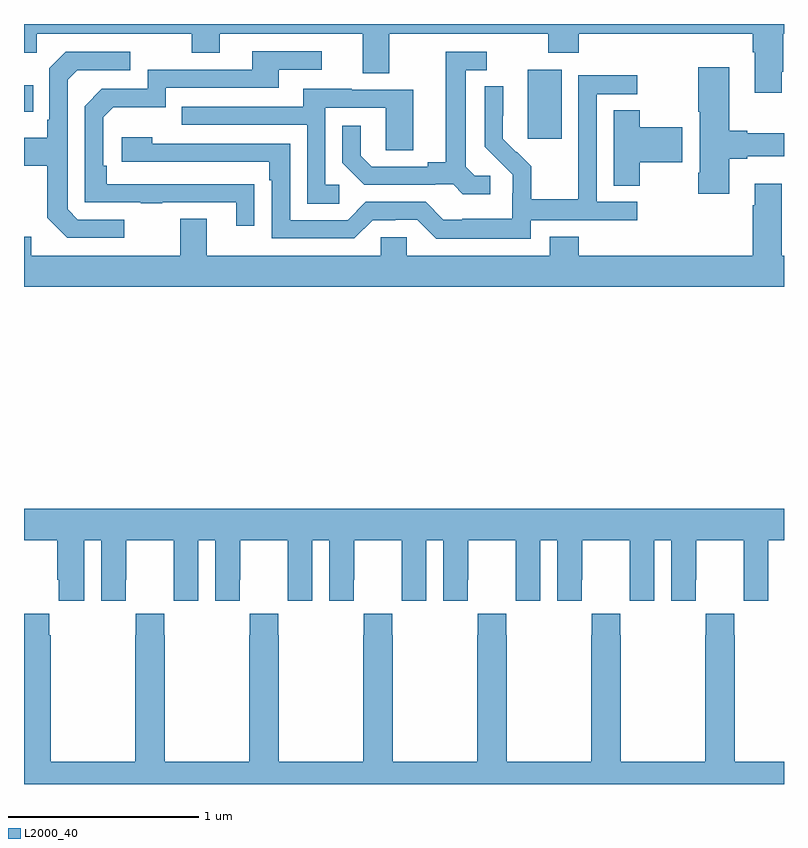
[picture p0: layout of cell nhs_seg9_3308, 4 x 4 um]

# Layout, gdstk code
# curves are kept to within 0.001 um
import gdstk
lib = gdstk.Library(unit=1e-6, precision=1e-09)
def R(c, l, rs):  # rectangles x0, y0, x1, y1
    for r in rs: c.add(gdstk.rectangle(r[:2], r[2:], *l))
def P(c, l, *ps):  # polygons
    for p in ps: c.add(gdstk.Polygon(p, *l))
L2000_40 = (2000, 40)

nhs_seg9_3308 = lib.new_cell('nhs_seg9_3308')
R(nhs_seg9_3308, L2000_40, [(303.65,1167.897,303.829,1168.258), (301,1168.037,301.049,1168.177)])
P(nhs_seg9_3308, L2000_40, [(304.987,1168.249),(304.995,1168.249),(304.995,1168.448),(305,1168.448),(305,1168.5),(301,1168.5),(301,1168.349),(301.068,1168.349),(301.068,1168.448),(301.882,1168.448),(301.882,1168.349),(302.029,1168.349),(302.029,1168.448),(302.783,1168.448),(302.783,1168.24),(302.923,1168.24),(302.923,1168.448),(303.76,1168.448),(303.76,1168.349),(303.92,1168.349),(303.92,1168.448),(304.835,1168.448),(304.835,1168.352),(304.847,1168.352),(304.847,1168.137),(304.987,1168.137)],
  [(302.213,1167.656),(301.436,1167.657),(301.436,1167.754),(301.416,1167.754),(301.416,1168.008),(301.469,1168.061),(301.746,1168.061),(301.746,1168.164),(302.341,1168.164),(302.341,1168.26),(302.566,1168.26),(302.566,1168.356),(302.201,1168.356),(302.201,1168.26),(301.65,1168.26),(301.65,1168.158),(301.41,1168.158),(301.32,1168.068),(301.32,1167.561),(301.615,1167.561),(301.615,1167.556),(301.727,1167.556),(301.727,1167.561),(302.117,1167.561),(302.117,1167.438),(302.213,1167.438)],
  [(303.454,1167.702),(303.372,1167.702),(303.325,1167.749),(303.325,1168.257),(303.436,1168.257),(303.436,1168.353),(303.221,1168.353),(303.221,1167.773),(303.125,1167.773),(303.125,1167.75),(302.83,1167.75),(302.773,1167.807),(302.773,1167.964),(302.676,1167.964),(302.676,1167.77),(302.792,1167.654),(303.164,1167.654),(303.164,1167.657),(303.258,1167.657),(303.31,1167.605),(303.454,1167.605)],
  [(301.528,1167.471),(301.284,1167.471),(301.23,1167.525),(301.23,1168.206),(301.281,1168.257),(301.558,1168.257),(301.558,1168.353),(301.221,1168.353),(301.134,1168.266),(301.134,1167.997),(301.122,1167.997),(301.122,1167.901),(301,1167.901),(301,1167.754),(301.122,1167.754),(301.122,1167.481),(301.227,1167.375),(301.528,1167.375)],
  [(304.711,1167.791),(304.807,1167.791),(304.807,1167.803),(305,1167.803),(305,1167.925),(304.807,1167.925),(304.807,1167.938),(304.711,1167.938),(304.711,1168.273),(304.549,1168.273),(304.549,1168.039),(304.556,1168.039),(304.556,1167.718),(304.549,1167.718),(304.549,1167.606),(304.711,1167.606)],
  [(303.666,1167.468),(304.228,1167.468),(304.228,1167.564),(304.014,1167.564),(304.014,1168.131),(304.228,1168.131),(304.228,1168.23),(303.918,1168.23),(303.918,1167.8),(303.916,1167.8),(303.916,1167.577),(303.671,1167.577),(303.671,1167.751),(303.594,1167.828),(303.591,1167.825),(303.521,1167.896),(303.522,1168.172),(303.426,1168.172),(303.426,1167.854),(303.572,1167.706),(303.572,1167.609),(303.57,1167.609),(303.57,1167.475),(303.307,1167.475),(303.307,1167.471),(303.207,1167.471),(303.114,1167.564),(302.799,1167.564),(302.703,1167.468),(302.4,1167.468),(302.4,1167.87),(301.676,1167.87),(301.676,1167.904),(301.515,1167.904),(301.515,1167.774),(302.291,1167.774),(302.291,1167.677),(302.304,1167.677),(302.304,1167.372),(302.739,1167.372),(302.835,1167.468),(302.954,1167.468),(302.954,1167.471),(303.069,1167.471),(303.169,1167.371),(303.666,1167.371)],
  [(302.659,1167.654),(302.586,1167.654),(302.586,1168.059),(302.904,1168.059),(302.904,1167.835),(303.049,1167.835),(303.049,1168.155),(302.725,1168.155),(302.725,1168.159),(302.471,1168.159),(302.471,1168.065),(301.831,1168.065),(301.831,1167.969),(302.49,1167.969),(302.49,1167.553),(302.659,1167.553)],
  [(304.242,1167.773),(304.465,1167.773),(304.465,1167.956),(304.242,1167.956),(304.242,1168.046),(304.103,1168.046),(304.103,1167.649),(304.242,1167.649)],
  [(305,1167.28),(304.987,1167.28),(304.987,1167.658),(304.847,1167.658),(304.847,1167.545),(304.835,1167.545),(304.835,1167.28),(303.92,1167.28),(303.92,1167.379),(303.767,1167.379),(303.767,1167.28),(303.015,1167.28),(303.015,1167.378),(302.877,1167.378),(302.877,1167.28),(301.963,1167.28),(301.963,1167.475),(301.823,1167.475),(301.823,1167.28),(301.039,1167.28),(301.039,1167.379),(301,1167.379),(301,1167.116),(305,1167.116)],
  [(301.318,1165.784),(301.406,1165.784),(301.406,1165.464),(301.536,1165.464),(301.536,1165.576),(301.537,1165.576),(301.537,1165.784),(301.787,1165.784),(301.787,1165.576),(301.788,1165.576),(301.788,1165.464),(301.918,1165.464),(301.918,1165.784),(302.006,1165.784),(302.006,1165.464),(302.136,1165.464),(302.136,1165.576),(302.137,1165.576),(302.137,1165.784),(302.387,1165.784),(302.387,1165.576),(302.388,1165.576),(302.388,1165.464),(302.518,1165.464),(302.518,1165.784),(302.606,1165.784),(302.606,1165.464),(302.736,1165.464),(302.736,1165.576),(302.737,1165.576),(302.737,1165.784),(302.987,1165.784),(302.987,1165.576),(302.988,1165.576),(302.988,1165.464),(303.118,1165.464),(303.118,1165.784),(303.206,1165.784),(303.206,1165.464),(303.336,1165.464),(303.336,1165.576),(303.337,1165.576),(303.337,1165.784),(303.587,1165.784),(303.587,1165.576),(303.588,1165.576),(303.588,1165.464),(303.718,1165.464),(303.718,1165.784),(303.806,1165.784),(303.806,1165.464),(303.936,1165.464),(303.936,1165.576),(303.937,1165.576),(303.937,1165.784),(304.187,1165.784),(304.187,1165.576),(304.188,1165.576),(304.188,1165.464),(304.318,1165.464),(304.318,1165.784),(304.406,1165.784),(304.406,1165.464),(304.536,1165.464),(304.536,1165.576),(304.537,1165.576),(304.537,1165.784),(304.787,1165.784),(304.787,1165.576),(304.788,1165.576),(304.788,1165.464),(304.918,1165.464),(304.918,1165.784),(305,1165.784),(305,1165.948),(301,1165.948),(301,1165.784),(301.175,1165.784),(301.175,1165.576),(301.184,1165.576),(301.184,1165.464),(301.318,1165.464)],
  [(305,1164.616),(304.74,1164.616),(304.74,1165.283),(304.737,1165.283),(304.737,1165.396),(304.587,1165.396),(304.587,1165.283),(304.585,1165.283),(304.585,1164.616),(304.14,1164.616),(304.14,1165.283),(304.137,1165.283),(304.137,1165.396),(303.987,1165.396),(303.987,1165.283),(303.985,1165.283),(303.985,1164.616),(303.54,1164.616),(303.54,1165.283),(303.537,1165.283),(303.537,1165.396),(303.387,1165.396),(303.387,1165.283),(303.385,1165.283),(303.385,1164.616),(302.94,1164.616),(302.94,1165.283),(302.937,1165.283),(302.937,1165.396),(302.787,1165.396),(302.787,1165.283),(302.785,1165.283),(302.785,1164.616),(302.34,1164.616),(302.34,1165.283),(302.337,1165.283),(302.337,1165.396),(302.187,1165.396),(302.187,1165.283),(302.185,1165.283),(302.185,1164.616),(301.74,1164.616),(301.74,1165.283),(301.737,1165.283),(301.737,1165.396),(301.587,1165.396),(301.587,1165.283),(301.585,1165.283),(301.585,1164.616),(301.14,1164.616),(301.14,1165.283),(301.133,1165.283),(301.133,1165.396),(301,1165.396),(301,1164.5),(305,1164.5)])

lib.write_gds('nhs_seg9_3308.gds')
